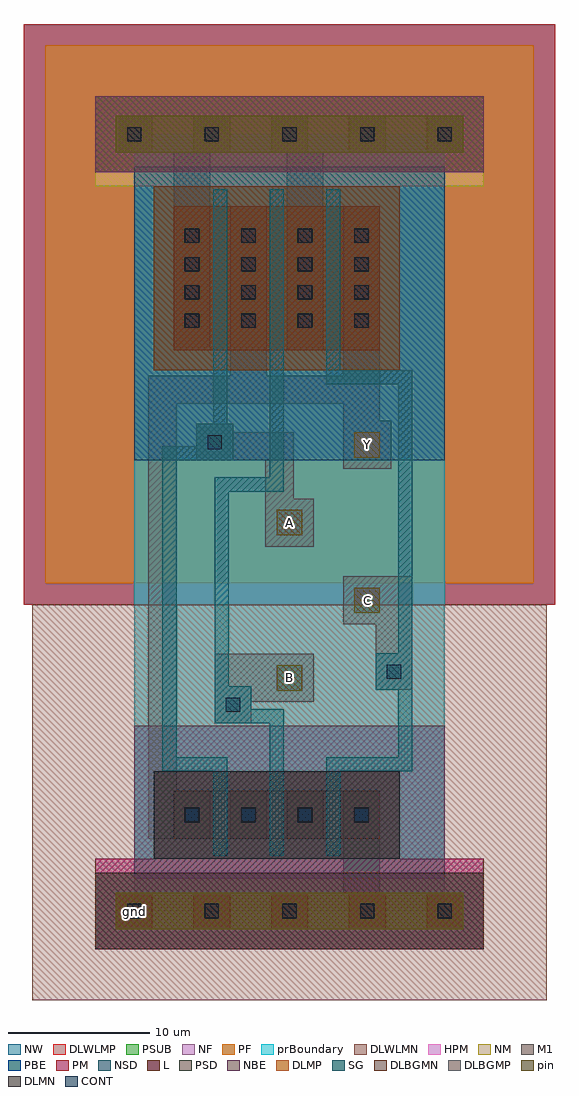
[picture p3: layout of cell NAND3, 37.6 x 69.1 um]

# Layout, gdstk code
import gdstk
lib = gdstk.Library(unit=1e-6, precision=1e-09)
def R(c, l, rs):  # rectangles x0, y0, x1, y1
    for r in rs: c.add(gdstk.rectangle(r[:2], r[2:], *l))
def A(c, l, x, y, w, h, nx, ny, dx, dy):  # array of equal rectangles
    R(c, l, [(x+i*dx, y+j*dy, x+i*dx+w, y+j*dy+h) for i in range(nx) for j in range(ny)])
def P(c, l, *ps):  # polygons
    for p in ps: c.add(gdstk.Polygon(p, *l))
L = (3, 0)
NM = (7, 0)
SG = (8, 0)
PSD = (9, 0)
CONT = (11, 0)
M1 = (13, 0)
NF = (25, 0)
PF = (26, 0)
NSD = (28, 0)
HPM = (33, 0)
PM = (35, 0)
NW = (36, 0)
pin = (48, 1)
PSUB = (140, 0)
PBE = (146, 0)
NBE = (147, 0)
DLWLMP = (150, 0)
DLWLMN = (151, 0)
DLMP = (157, 0)
DLMN = (158, 0)
DLBGMP = (177, 0)
DLBGMN = (178, 0)
prBoundary = (235, 0)

nand3 = lib.new_cell('NAND3')
A(nand3, L, -1.3, -1.3, 2.6, 2.6, 5, 2, 5.5, 55)
R(nand3, L, [(2.8,5.1,17.4,8.5), (2.8,39.7,17.4,49.9)])
R(nand3, NM, [(-2.75,-2.7,24.75,2.7)])
P(nand3, NM, [(1.4,38.3),(1.4,51.3),(-2.75,51.3),(-2.75,57.7),(24.75,57.7),(24.75,51.3),(18.8,51.3),(18.8,38.3)])
P(nand3, SG, [(5.6,3.9),(5.6,9.9),(2,9.9),(2,32.9),(4.4,32.9),(4.4,34.5),(5.6,34.5),(5.6,51.1),(6.6,51.1),(6.6,34.5),(7,34.5),(7,31.9),(3,31.9),(3,10.9),(6.6,10.9),(6.6,3.9)],
  [(9.6,3.9),(9.6,13.3),(5.7,13.3),(5.7,30.7),(9.6,30.7),(9.6,51.1),(10.6,51.1),(10.6,29.7),(6.7,29.7),(6.7,15.9),(8.3,15.9),(8.3,14.3),(10.6,14.3),(10.6,3.9)],
  [(13.6,3.9),(13.6,10.9),(18.7,10.9),(18.7,15.65),(17.1,15.65),(17.1,18.25),(18.7,18.25),(18.7,37.3),(13.6,37.3),(13.6,51.1),(14.6,51.1),(14.6,38.3),(19.7,38.3),(19.7,9.9),(14.6,9.9),(14.6,3.9)])
R(nand3, PSD, [(1.4,3.7,18.8,9.9), (-2.75,52.3,24.75,57.7)])
A(nand3, CONT, -0.5, -0.5, 1, 1, 5, 2, 5.5, 55)
A(nand3, CONT, 3.6, 41.3, 1, 1, 1, 4, 0, 2)
A(nand3, CONT, 15.6, 41.3, 1, 1, 1, 4, 0, 2)
R(nand3, CONT, [(3.6,6.3,4.6,7.3), (7.6,6.3,8.6,7.3), (7.6,6.3,8.6,7.3), (11.6,6.3,12.6,7.3), (11.6,6.3,12.6,7.3), (15.6,6.3,16.6,7.3), (6.5,14.1,7.5,15.1), (17.9,16.45,18.9,17.45), (5.2,32.7,6.2,33.7), (7.6,41.3,8.6,42.3), (7.6,41.3,8.6,42.3), (11.6,41.3,12.6,42.3), (11.6,41.3,12.6,42.3), (7.6,43.3,8.6,44.3), (7.6,43.3,8.6,44.3), (11.6,43.3,12.6,44.3), (11.6,43.3,12.6,44.3), (7.6,45.3,8.6,46.3), (7.6,45.3,8.6,46.3), (11.6,45.3,12.6,46.3), (11.6,45.3,12.6,46.3), (7.6,47.3,8.6,48.3), (7.6,47.3,8.6,48.3), (11.6,47.3,12.6,48.3), (11.6,47.3,12.6,48.3)])
R(nand3, M1, [(6.8,5.1,9.4,8.5), (10.8,5.1,13.4,8.5)])
P(nand3, M1, [(-1.3,-1.3),(-1.3,1.3),(14.8,1.3),(14.8,8.5),(17.4,8.5),(17.4,1.3),(23.3,1.3),(23.3,-1.3)],
  [(5.7,13.3),(5.7,18.2),(12.7,18.2),(12.7,14.8),(8.3,14.8),(8.3,13.3)],
  [(17.1,15.65),(17.1,20.3),(14.8,20.3),(14.8,23.7),(19.7,23.7),(19.7,15.65)],
  [(9.3,25.8),(9.3,31.9),(4.4,31.9),(4.4,34.5),(7,34.5),(7,33.9),(11.3,33.9),(11.3,29.2),(12.7,29.2),(12.7,25.8)],
  [(1,5.1),(1,37.9),(6.8,37.9),(6.8,49.9),(9.4,49.9),(9.4,37.9),(14.8,37.9),(14.8,49.9),(17.4,49.9),(17.4,34.7),(18.2,34.7),(18.2,31.3),(14.8,31.3),(14.8,35.9),(3,35.9),(3,8.5),(5.4,8.5),(5.4,5.1)],
  [(2.8,39.7),(2.8,53.7),(-1.3,53.7),(-1.3,56.3),(23.3,56.3),(23.3,53.7),(13.4,53.7),(13.4,39.7),(10.8,39.7),(10.8,53.7),(5.4,53.7),(5.4,39.7)])
R(nand3, NF, [(-6.3,23.2,28.3,61.3)])
R(nand3, PF, [(-6.3,23.2,28.3,61.3)])
R(nand3, NSD, [(-2.75,-2.7,24.75,2.7), (1.4,38.3,18.8,51.3)])
P(nand3, HPM, [(-2.75,-2.7),(-2.75,3.7),(1.4,3.7),(1.4,9.9),(18.8,9.9),(18.8,3.7),(24.75,3.7),(24.75,-2.7)],
  [(1.4,38.3),(1.4,51.3),(-2.75,51.3),(-2.75,57.7),(24.75,57.7),(24.75,51.3),(18.8,51.3),(18.8,38.3)])
R(nand3, PM, [(-2.75,52.3,24.75,57.7)])
P(nand3, PM, [(-2.75,-2.7),(-2.75,3.7),(1.4,3.7),(1.4,9.9),(18.8,9.9),(18.8,3.7),(24.75,3.7),(24.75,-2.7)])
R(nand3, NW, [(-7.8,21.7,29.8,62.8)])
R(nand3, pin, [(-1.3,-1.3,23.3,1.3), (10.1,15.6,11.9,17.4), (15.6,21.1,17.4,22.9), (10.1,26.6,11.9,28.4), (15.6,32.1,17.4,33.9), (-1.3,53.7,23.3,56.3)])
R(nand3, PSUB, [(-6.3,23.2,28.3,61.3)])
R(nand3, PBE, [(0,31.9,22,52.7)])
R(nand3, NBE, [(0,2.3,22,13.1)])
R(nand3, DLWLMP, [(-7.8,21.7,29.8,62.8)])
R(nand3, DLWLMN, [(-7.2,-6.3,29.2,21.7)])
R(nand3, DLMP, [(1.4,38.3,18.8,51.3)])
R(nand3, DLMN, [(1.4,3.7,18.8,9.9)])
R(nand3, DLBGMP, [(-2.75,52.3,24.75,57.7)])
R(nand3, DLBGMN, [(-2.75,-2.7,24.75,2.7)])
R(nand3, prBoundary, [(0,0,22,55)])
nand3.add(gdstk.Label('Y', (16.5,33), layer=48, texttype=0))
nand3.add(gdstk.Label('A', (11,27.5), layer=48, texttype=0))
nand3.add(gdstk.Label('C', (16.5,22), layer=48, texttype=0))
nand3.add(gdstk.Label('B', (11,16.5), layer=48, texttype=0))
nand3.add(gdstk.Label('gnd', (0,0), layer=48, texttype=0))

lib.write_gds('NAND3.gds')
